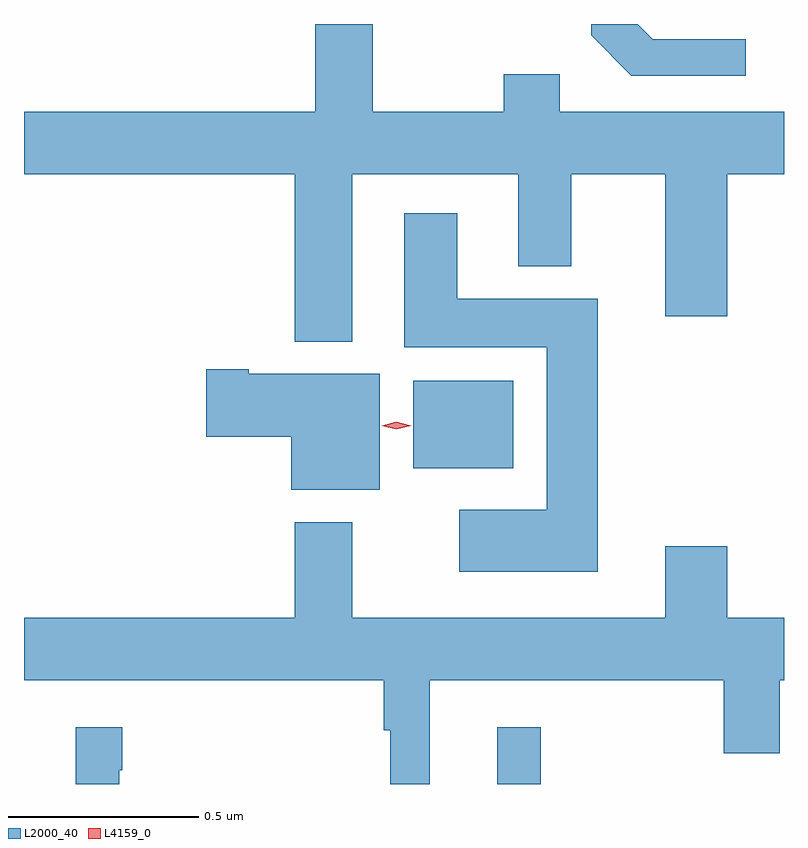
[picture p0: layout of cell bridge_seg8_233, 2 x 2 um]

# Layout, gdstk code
import gdstk
lib = gdstk.Library(unit=1e-6, precision=1e-09)
def R(c, l, rs):  # rectangles x0, y0, x1, y1
    for r in rs: c.add(gdstk.rectangle(r[:2], r[2:], *l))
def P(c, l, *ps):  # polygons
    for p in ps: c.add(gdstk.Polygon(p, *l))
L2000_40 = (2000, 40)
L4159_0 = (4159, 0)

bridge_seg8_233 = lib.new_cell('bridge_seg8_233')
R(bridge_seg8_233, L2000_40, [(200.531,1146.863,200.645,1147.012), (200.309,1147.694,200.572,1147.924)])
P(bridge_seg8_233, L2000_40, [(200.149,1148.468),(200.585,1148.468),(200.585,1148.225),(200.725,1148.225),(200.725,1148.468),(200.972,1148.468),(200.972,1148.094),(201.136,1148.094),(201.136,1148.468),(201.285,1148.468),(201.285,1148.632),(200.695,1148.632),(200.695,1148.731),(200.548,1148.731),(200.548,1148.632),(200.203,1148.632),(200.203,1148.863),(200.051,1148.863),(200.051,1148.632),(199.285,1148.632),(199.285,1148.468),(199.997,1148.468),(199.997,1148.027),(200.149,1148.027)],
  [(201.184,1148.823),(200.94,1148.823),(200.9,1148.863),(200.778,1148.863),(200.778,1148.833),(200.883,1148.727),(201.184,1148.727)],
  [(200.795,1148.14),(200.425,1148.14),(200.425,1148.365),(200.285,1148.365),(200.285,1148.012),(200.66,1148.012),(200.66,1147.585),(200.43,1147.585),(200.43,1147.421),(200.795,1147.421)],
  [(200.221,1147.942),(199.876,1147.942),(199.876,1147.955),(199.764,1147.955),(199.764,1147.777),(199.988,1147.777),(199.988,1147.637),(200.221,1147.637)],
  [(200.353,1147.136),(201.127,1147.136),(201.127,1146.944),(201.274,1146.944),(201.274,1147.136),(201.285,1147.136),(201.285,1147.3),(201.136,1147.3),(201.136,1147.489),(200.972,1147.489),(200.972,1147.3),(200.149,1147.3),(200.149,1147.552),(199.997,1147.552),(199.997,1147.3),(199.285,1147.3),(199.285,1147.136),(200.232,1147.136),(200.232,1147.004),(200.249,1147.004),(200.249,1146.863),(200.353,1146.863)],
  [(199.535,1146.899),(199.543,1146.899),(199.543,1147.012),(199.421,1147.012),(199.421,1146.863),(199.535,1146.863)])
P(bridge_seg8_233, L4159_0, [(200.265,1147.796),(200.227,1147.806),(200.227,1147.806),(200.227,1147.806),(200.265,1147.816),(200.304,1147.806),(200.304,1147.806),(200.304,1147.806)])

lib.write_gds('bridge_seg8_233.gds')
